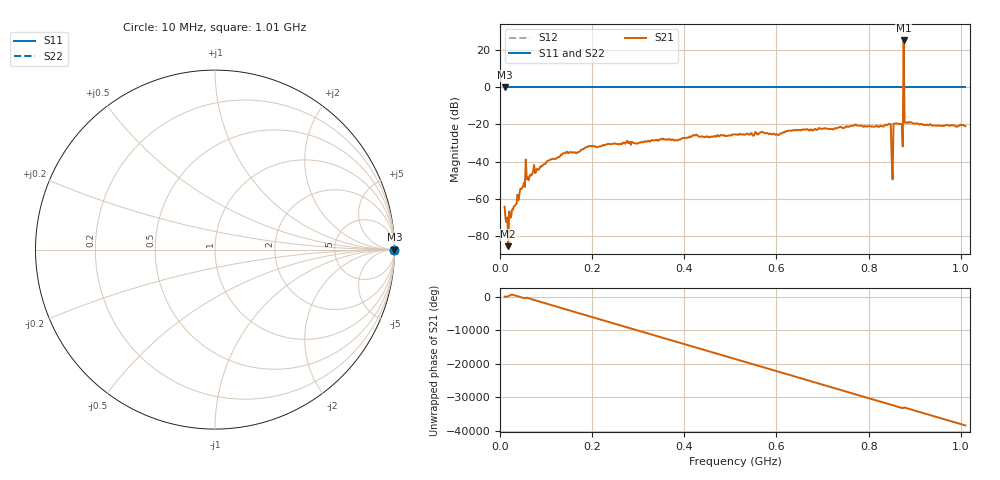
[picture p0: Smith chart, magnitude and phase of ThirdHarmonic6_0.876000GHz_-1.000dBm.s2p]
! 8/16/2025 4:53:28 AM
! C:\ANRITSUVNA\TEMP\TEMP.S2P
! CHANNEL.1
! TR.MEASUREMENT
! RAW.DATA
! RF.CORRECTION.OFF
! AVERAGING.OFF
! IF.BANDWIDTH: 5KHZ
! SWEEPTYPE:  FREQ.SWEEP(Linear)
! Reference Plane Port Info
! PORT:  PORT1  PORT2
! DISTANCE:  0  m  0  m
! TIME:  0  s  0  s
! PHASE.OFFSET:  0  deg.  0  deg.
! LOSS:  0  dB  0  dB
! REF.LOSS:  0  dB  0  dB
! REF.FREQ:  0  Hz  0  Hz
! Power Info
! POWER:  -20  dBm  -20  dBm
! EFF.POWER:  -20  dBm  -20  dBm
! SOURCE.ATTEN:  0  dB  0  dB
! TEST.ATTEN:  0  dB  0  dB
# GHZ S RI R 50.0
! FREQ.GHZ  S11RE  S11IM  S21RE  S21IM  S12RE  S12IM  S22RE  S22IM
!; PortSelection: Port_12
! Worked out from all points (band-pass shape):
!   501 points, 10 MHz to 1.01 GHz, reference 50 ohm
!   highest |S21| = 25.18 dB at 876 MHz (marker M1); lowest = -85.5 dB at 18 MHz (marker M2)
!   |S21| within 3 dB of the highest: 875.8948 MHz to 876.1362 MHz (241.4 kHz wide, 0.0276 % of centre)
!   lowest |S11| = 0.0 dB at 10 MHz (marker M3)
!   |S11| at or under -10 dB: nowhere
!   |S22| runs from 0.0 to 0.0 dB; largest |S21 - S12| = 17
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0.01  1 0  0.0006 -0.000107  1 0  1 0
0.014  1 0  0.000226 6.03e-05  1 0  1 0
0.018  1 0  -3.75e-05 3.75e-05  1 0  1 0
0.06  1 0  0.00159 -0.00348  1 0  1 0
0.062  1 0  -0.00263 -0.00169  1 0  1 0
0.106  1 0  -0.00798 -0.00709  1 0  1 0
0.14  1 0  0.00315 -0.0166  1 0  1 0
0.178  1 0  -0.0211 -0.00377  1 0  1 0
0.344  1 0  0.0343 -0.0143  1 0  1 0
0.51  1 0  -0.039 0.0364  1 0  1 0
0.678  1 0  -0.0562 -0.0388  1 0  1 0
0.844  1 0  0.1037 0.00165  1 0  1 0
0.848  1 0  -0.097 -0.0311  1 0  1 0
0.854  1 0  0.0723 -0.075  1 0  1 0
0.858  1 0  -0.0934 0.0504  1 0  1 0
0.868  1 0  -0.0297 0.0999  1 0  1 0
0.87  1 0  0.0914 0.0456  1 0  1 0
0.872  1 0  0.0635 -0.0811  1 0  1 0
0.876  1 0  18.15 -0.4497  1 0  1 0
0.88  1 0  0.106 -0.0312  1 0  1 0
0.882  1 0  -0.0175 -0.1109  1 0  1 0
1.01  1 0  -0.0592 0.0672  1 0  1 0
